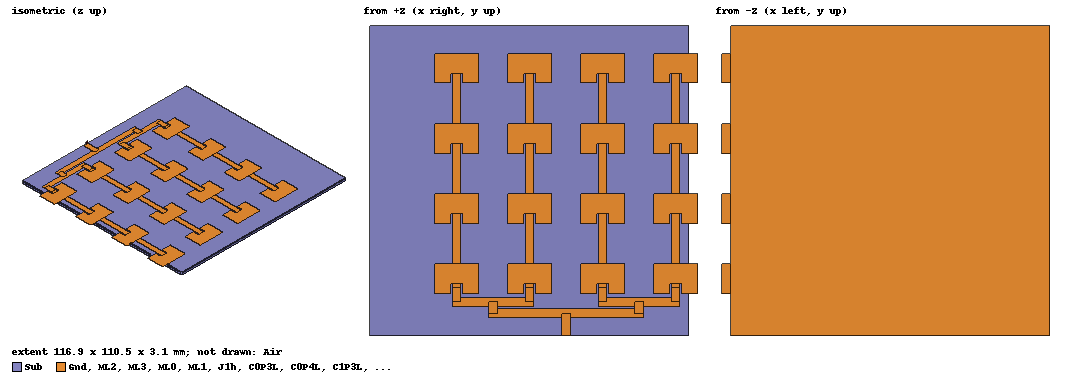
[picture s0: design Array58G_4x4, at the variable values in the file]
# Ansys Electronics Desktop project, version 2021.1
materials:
  vacuum: permittivity=1
  FR4_epoxy: permittivity=4.4 dielectric_loss_tangent=0.02

design Array58G_4x4 (HFSS, DrivenModal, model units mm)
options: Save_Adaptive_support_files
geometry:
  Sub [FR4_epoxy] = box(corner=(0mm, 0mm, -1.6mm), size=(113.74mm, 110.5mm, 1.6mm))
  Gnd = rectangle(corner=(0mm, 0mm, -1.6mm), x_size=113.74mm, y_size=110.5mm)
  FeedIn = rectangle(corner=(68.45mm, 0mm, 0mm), x_size=3.1mm, y_size=8mm)
  J1h = rectangle(corner=(42.45mm, 6.45mm, 0mm), x_size=55.1mm, y_size=3.1mm)
  J2vl = rectangle(corner=(42.45mm, 8mm, 0mm), x_size=3.1mm, y_size=4mm)
  J2vr = rectangle(corner=(94.45mm, 8mm, 0mm), x_size=3.1mm, y_size=4mm)
  J2hl = rectangle(corner=(29.45mm, 10.45mm, 0mm), x_size=29.1mm, y_size=3.1mm)
  J2hr = rectangle(corner=(81.45mm, 10.45mm, 0mm), x_size=29.1mm, y_size=3.1mm)
  Cf0 = rectangle(corner=(29.45mm, 12mm, 0mm), x_size=3.1mm, y_size=5mm)
  Cf1 = rectangle(corner=(55.45mm, 12mm, 0mm), x_size=3.1mm, y_size=5mm)
  Cf2 = rectangle(corner=(81.45mm, 12mm, 0mm), x_size=3.1mm, y_size=5mm)
  Cf3 = rectangle(corner=(107.45mm, 12mm, 0mm), x_size=3.1mm, y_size=5mm)
  ML0 = rectangle(corner=(29.45mm, 17mm, 0mm), x_size=3.1mm, y_size=83.25mm)
  C0P1L = rectangle(corner=(23.13mm, 15mm, 0mm), x_size=5.82mm, y_size=10.5mm)
  C0P1R = rectangle(corner=(33.05mm, 15mm, 0mm), x_size=5.82mm, y_size=10.5mm)
  C0P1T = rectangle(corner=(23.13mm, 18.5mm, 0mm), x_size=15.74mm, y_size=7mm)
  C0P1L.unite(C0P1R, C0P1T)
  C0P2L = rectangle(corner=(23.13mm, 40mm, 0mm), x_size=5.82mm, y_size=10.5mm)
  C0P2R = rectangle(corner=(33.05mm, 40mm, 0mm), x_size=5.82mm, y_size=10.5mm)
  C0P2T = rectangle(corner=(23.13mm, 43.5mm, 0mm), x_size=15.74mm, y_size=7mm)
  C0P2L.unite(C0P2R, C0P2T)
  C0P3L = rectangle(corner=(23.13mm, 65mm, 0mm), x_size=5.82mm, y_size=10.5mm)
  C0P3R = rectangle(corner=(33.05mm, 65mm, 0mm), x_size=5.82mm, y_size=10.5mm)
  C0P3T = rectangle(corner=(23.13mm, 68.5mm, 0mm), x_size=15.74mm, y_size=7mm)
  C0P3L.unite(C0P3R, C0P3T)
  C0P4L = rectangle(corner=(23.13mm, 90mm, 0mm), x_size=5.82mm, y_size=10.5mm)
  C0P4R = rectangle(corner=(33.05mm, 90mm, 0mm), x_size=5.82mm, y_size=10.5mm)
  C0P4T = rectangle(corner=(23.13mm, 93.5mm, 0mm), x_size=15.74mm, y_size=7mm)
  C0P4L.unite(C0P4R, C0P4T)
  ML1 = rectangle(corner=(55.45mm, 17mm, 0mm), x_size=3.1mm, y_size=83.25mm)
  C1P1L = rectangle(corner=(49.13mm, 15mm, 0mm), x_size=5.82mm, y_size=10.5mm)
  C1P1R = rectangle(corner=(59.05mm, 15mm, 0mm), x_size=5.82mm, y_size=10.5mm)
  C1P1T = rectangle(corner=(49.13mm, 18.5mm, 0mm), x_size=15.74mm, y_size=7mm)
  C1P1L.unite(C1P1R, C1P1T)
  C1P2L = rectangle(corner=(49.13mm, 40mm, 0mm), x_size=5.82mm, y_size=10.5mm)
  C1P2R = rectangle(corner=(59.05mm, 40mm, 0mm), x_size=5.82mm, y_size=10.5mm)
  C1P2T = rectangle(corner=(49.13mm, 43.5mm, 0mm), x_size=15.74mm, y_size=7mm)
  C1P2L.unite(C1P2R, C1P2T)
  C1P3L = rectangle(corner=(49.13mm, 65mm, 0mm), x_size=5.82mm, y_size=10.5mm)
  C1P3R = rectangle(corner=(59.05mm, 65mm, 0mm), x_size=5.82mm, y_size=10.5mm)
  C1P3T = rectangle(corner=(49.13mm, 68.5mm, 0mm), x_size=15.74mm, y_size=7mm)
  C1P3L.unite(C1P3R, C1P3T)
  C1P4L = rectangle(corner=(49.13mm, 90mm, 0mm), x_size=5.82mm, y_size=10.5mm)
  C1P4R = rectangle(corner=(59.05mm, 90mm, 0mm), x_size=5.82mm, y_size=10.5mm)
  C1P4T = rectangle(corner=(49.13mm, 93.5mm, 0mm), x_size=15.74mm, y_size=7mm)
  C1P4L.unite(C1P4R, C1P4T)
  ML2 = rectangle(corner=(81.45mm, 17mm, 0mm), x_size=3.1mm, y_size=83.25mm)
  C2P1L = rectangle(corner=(75.13mm, 15mm, 0mm), x_size=5.82mm, y_size=10.5mm)
  C2P1R = rectangle(corner=(85.05mm, 15mm, 0mm), x_size=5.82mm, y_size=10.5mm)
  C2P1T = rectangle(corner=(75.13mm, 18.5mm, 0mm), x_size=15.74mm, y_size=7mm)
  C2P1L.unite(C2P1R, C2P1T)
  C2P2L = rectangle(corner=(75.13mm, 40mm, 0mm), x_size=5.82mm, y_size=10.5mm)
  C2P2R = rectangle(corner=(85.05mm, 40mm, 0mm), x_size=5.82mm, y_size=10.5mm)
  C2P2T = rectangle(corner=(75.13mm, 43.5mm, 0mm), x_size=15.74mm, y_size=7mm)
  C2P2L.unite(C2P2R, C2P2T)
  C2P3L = rectangle(corner=(75.13mm, 65mm, 0mm), x_size=5.82mm, y_size=10.5mm)
  C2P3R = rectangle(corner=(85.05mm, 65mm, 0mm), x_size=5.82mm, y_size=10.5mm)
  C2P3T = rectangle(corner=(75.13mm, 68.5mm, 0mm), x_size=15.74mm, y_size=7mm)
  C2P3L.unite(C2P3R, C2P3T)
  C2P4L = rectangle(corner=(75.13mm, 90mm, 0mm), x_size=5.82mm, y_size=10.5mm)
  C2P4R = rectangle(corner=(85.05mm, 90mm, 0mm), x_size=5.82mm, y_size=10.5mm)
  C2P4T = rectangle(corner=(75.13mm, 93.5mm, 0mm), x_size=15.74mm, y_size=7mm)
  C2P4L.unite(C2P4R, C2P4T)
  ML3 = rectangle(corner=(107.45mm, 17mm, 0mm), x_size=3.1mm, y_size=83.25mm)
  C3P1L = rectangle(corner=(101.13mm, 15mm, 0mm), x_size=5.82mm, y_size=10.5mm)
  C3P1R = rectangle(corner=(111.05mm, 15mm, 0mm), x_size=5.82mm, y_size=10.5mm)
  C3P1T = rectangle(corner=(101.13mm, 18.5mm, 0mm), x_size=15.74mm, y_size=7mm)
  C3P1L.unite(C3P1R, C3P1T)
  C3P2L = rectangle(corner=(101.13mm, 40mm, 0mm), x_size=5.82mm, y_size=10.5mm)
  C3P2R = rectangle(corner=(111.05mm, 40mm, 0mm), x_size=5.82mm, y_size=10.5mm)
  C3P2T = rectangle(corner=(101.13mm, 43.5mm, 0mm), x_size=15.74mm, y_size=7mm)
  C3P2L.unite(C3P2R, C3P2T)
  C3P3L = rectangle(corner=(101.13mm, 65mm, 0mm), x_size=5.82mm, y_size=10.5mm)
  C3P3R = rectangle(corner=(111.05mm, 65mm, 0mm), x_size=5.82mm, y_size=10.5mm)
  C3P3T = rectangle(corner=(101.13mm, 68.5mm, 0mm), x_size=15.74mm, y_size=7mm)
  C3P3L.unite(C3P3R, C3P3T)
  C3P4L = rectangle(corner=(101.13mm, 90mm, 0mm), x_size=5.82mm, y_size=10.5mm)
  C3P4R = rectangle(corner=(111.05mm, 90mm, 0mm), x_size=5.82mm, y_size=10.5mm)
  C3P4T = rectangle(corner=(101.13mm, 93.5mm, 0mm), x_size=15.74mm, y_size=7mm)
  C3P4L.unite(C3P4R, C3P4T)
  Port1 = rectangle(corner=(68.45mm, 0mm, -1.6mm), z_size=3.1mm, x_size=1.6mm)
  Air [vacuum] = box(corner=(-12mm, -12mm, -13.6mm), size=(137.74mm, 134.5mm, 25.6mm))
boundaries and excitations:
  PE1: Perfect E Objects=Gnd
  PE2: Perfect E Objects=FeedIn
  PE3: Perfect E Objects=J1h
  PE4: Perfect E Objects=J2vl
  PE5: Perfect E Objects=J2vr
  PE6: Perfect E Objects=J2hl
  PE7: Perfect E Objects=J2hr
  PE8: Perfect E Objects=Cf0
  PE9: Perfect E Objects=Cf1
  PE10: Perfect E Objects=Cf2
  PE11: Perfect E Objects=Cf3
  PE12: Perfect E Objects=ML0
  PE13: Perfect E Objects=C0P1L
  PE14: Perfect E Objects=C0P2L
  PE15: Perfect E Objects=C0P3L
  PE16: Perfect E Objects=C0P4L
  PE17: Perfect E Objects=ML1
  PE18: Perfect E Objects=C1P1L
  PE19: Perfect E Objects=C1P2L
  PE20: Perfect E Objects=C1P3L
  PE21: Perfect E Objects=C1P4L
  PE22: Perfect E Objects=ML2
  PE23: Perfect E Objects=C2P1L
  PE24: Perfect E Objects=C2P2L
  PE25: Perfect E Objects=C2P3L
  PE26: Perfect E Objects=C2P4L
  PE27: Perfect E Objects=ML3
  PE28: Perfect E Objects=C3P1L
  PE29: Perfect E Objects=C3P2L
  PE30: Perfect E Objects=C3P3L
  PE31: Perfect E Objects=C3P4L
  Rad: Radiation Objects=Air
  1: Lumped Port Objects=Port1 Modes{Mode1{IntLine{Port1.edge(z at corner) at 0.0312 along -> middle of FeedIn.edge(y at corner)} CharImp=Zpi RenormImp=50ohm}} Impedance=50ohm
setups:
  Setup1: HfssDriven Frequency=5.8GHz MaxDeltaS=0.02 MaximumPasses=6 MinimumPasses=1 MinimumConvergedPasses=1 PercentRefinement=30 BasisOrder=1 PortAccuracy=2
    sweep Sweep: 4GHz to 8GHz, 401 points; Type=Interpolating InterpTolerance=0.5 InterpMaxSolns=250 InterpUsePortImped=false PassivityErrorTolerance=0.0001
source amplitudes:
  1:1: 1W 0deg
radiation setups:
  3D: Infinite Sphere Theta=0deg..180deg step 2deg Phi=-180deg..180deg step 2deg
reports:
  S Parameter Plot 1: dB(S(1,1)) vs Freq on Setup1 : Sweep; markers m1 at 5.73GHz, m2 at 5.75GHz, m3 at 5.77GHz, m4 at 5.78GHz, m5 at 5.8GHz
  Gain Plot 1: GainTotal vs Phi, Theta on Setup1 : LastAdaptive, 3D [Freq=5.8GHz]
